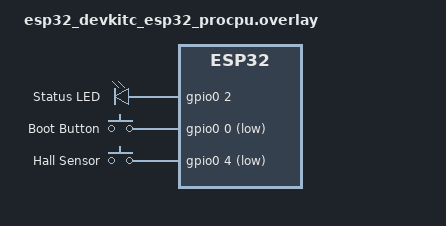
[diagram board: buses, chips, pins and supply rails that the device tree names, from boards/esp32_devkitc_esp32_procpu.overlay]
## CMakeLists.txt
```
cmake_minimum_required(VERSION 3.20)
find_package(Zephyr REQUIRED HINTS $ENV{ZEPHYR_BASE})
project(blinky)

target_sources(app PRIVATE
    src/main.c
)
```

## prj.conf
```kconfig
CONFIG_GPIO=y
CONFIG_PRINTK=y

# No CONFIG_GPIO_EMUL: it defaults to y wherever the devicetree enables a
# `zephyr,gpio-emul` node, so boards/native_sim_native.overlay turns it on.
```

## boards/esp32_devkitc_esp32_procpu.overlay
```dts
/ {
    /* LED and buttons for the original ESP32 DevKitC. */
    leds {
        compatible = "gpio-leds";
        led0: led_0 {
            gpios = <&gpio0 2 GPIO_ACTIVE_HIGH>; /* Onboard LED */
            label = "Status LED";
        };
    };

    buttons {
        compatible = "gpio-keys";
        button0: button_0 {
            gpios = <&gpio0 0 (GPIO_PULL_UP | GPIO_ACTIVE_LOW)>; /* Onboard BOOT button */
            label = "Boot Button";
        };
        button1: button_1 {
            gpios = <&gpio0 4 (GPIO_PULL_UP | GPIO_ACTIVE_LOW)>; /* External pin */
            label = "Hall Sensor";
        };
    };

    /* The app binds led0 and sw0; hal0 is not used by it. */
    aliases {
        led0 = &led0;
        sw0 = &button0;
        hal0 = &button1;
    };
};
```

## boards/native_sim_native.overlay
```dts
/ {
    /* Enables native_sim's emulated GPIO controller (gpio0), so the app runs with no real pins. */
    emul_gpio: gpio_emul {
        compatible = "zephyr,gpio-emul";
        status = "okay";
        gpio-controller;
        #gpio-cells = <2>;
        ngpios = <32>;
        interrupt-controller;
        #interrupt-cells = <2>;
        rising-edge;
        falling-edge;
        high-level;
        low-level;
    };

    leds {
        compatible = "gpio-leds";
        test_led: led_0 {
            gpios = <&emul_gpio 10 GPIO_ACTIVE_HIGH>;
        };
    };

    buttons {
        compatible = "gpio-keys";
        test_button: btn_0 {
            gpios = <&emul_gpio 11 (GPIO_PULL_UP | GPIO_ACTIVE_LOW)>;
            zephyr,code = <0x01>;  /* INPUT_KEY_ESC; the app reads the pin, not input events */
        };
    };

    aliases {
        led0 = &test_led;
        sw0 = &test_button;
    };
};
```

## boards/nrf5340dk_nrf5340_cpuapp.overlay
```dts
/ {
    aliases {
        /* Empty: the board devicetree already sets led0 = &led0 and sw0 = &button0. */
    };
};
```

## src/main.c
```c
#include <zephyr/kernel.h>
#include <zephyr/device.h>
#include <zephyr/drivers/gpio.h>
#include <zephyr/sys/printk.h>

/* Bound by alias, so the devicetree decides whether the pins are real or emulated. */
#define BUTTON_NODE DT_ALIAS(sw0)
static const struct gpio_dt_spec button = GPIO_DT_SPEC_GET(BUTTON_NODE, gpios);

#define LED0_NODE DT_ALIAS(led0)
static const struct gpio_dt_spec led = GPIO_DT_SPEC_GET(LED0_NODE, gpios);

static struct gpio_callback button_cb_data;

static bool led_state = false;

void button_pressed_cb(const struct device *dev, struct gpio_callback *cb, uint32_t pins)
{
    gpio_pin_toggle_dt(&led);
    led_state = !led_state;
    printk("Button pressed! LED is now %s\n", led_state ? "ON" : "OFF");
}

int main(void)
{
    int ret;

    printk("GPIO Button + LED Toggle started\n");

    if (!device_is_ready(button.port)) {
        printk("Error: button device %s is not ready\n", button.port->name);
        return 0;
    }

    if (led.port == NULL || !device_is_ready(led.port)) {
        printk("Error: LED device %s is not ready\n", led.port->name);
        return 0;
    }

    ret = gpio_pin_configure_dt(&led, GPIO_OUTPUT_INACTIVE);
    if (ret != 0) {
        printk("Error %d: failed to configure LED\n", ret);
        return 0;
    }

    ret = gpio_pin_configure_dt(&button, GPIO_INPUT);
    if (ret != 0) {
        printk("Error %d: failed to configure button\n", ret);
        return 0;
    }

    ret = gpio_pin_interrupt_configure_dt(&button, GPIO_INT_EDGE_TO_ACTIVE);
    if (ret != 0) {
        printk("Error %d: failed to configure interrupt\n", ret);
        return 0;
    }

    gpio_init_callback(&button_cb_data, button_pressed_cb, BIT(button.pin));
    ret = gpio_add_callback(button.port, &button_cb_data);
    if (ret != 0) {
        printk("Error %d: failed to add callback\n", ret);
        return 0;
    }

    printk("Ready. Press the button to toggle LED.\n");

    while (1) {
        k_sleep(K_FOREVER);
    }
    return 0;
}
```
